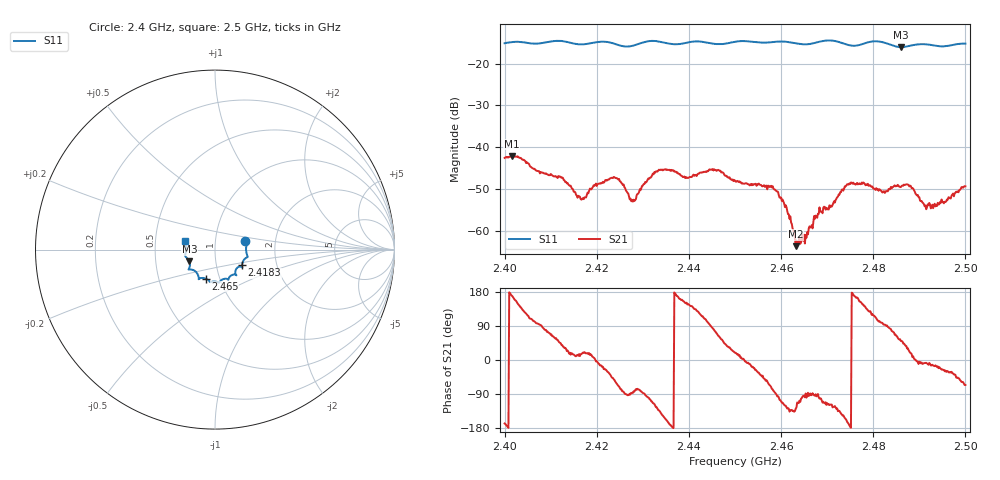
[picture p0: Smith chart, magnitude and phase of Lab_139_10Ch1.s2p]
# Hz S RI R 50
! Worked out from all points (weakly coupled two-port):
!   601 points, 2.4 GHz to 2.5 GHz, reference 50 ohm
!   highest |S21| = -42.08 dB at 2.4015 GHz (marker M1); lowest = -63.6 dB at 2.4632 GHz (marker M2)
!   lowest |S11| = -16.1 dB at 2.486 GHz (marker M3), VSWR 1.37, Z = 37.2 - j4.98 ohm
!   |S11| at or under -10 dB: start of sweep to end of sweep
!   S12 and S22 are empty: the file has one direction only
!   S11 on the Smith chart (normalised r, x): 2.4 GHz: 1.40, +0.13; 2.4183 GHz: 1.33, -0.24; 2.465 GHz: 0.86, -0.28; 2.5 GHz: 0.71, +0.07
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2.4e9  0.1686 0.0468  -0.0073 -0.00161  0 0  0 0
2.4015e9  0.1761 0.0392  -0.00776 0.00134  0 0  0 0
2.412167e9  0.1816 -0.0412  0.00316 0.0031  0 0  0 0
2.416667e9  0.1548 -0.0684  0.00229 0.000651  0 0  0 0
2.418333e9  0.1501 -0.0872  0.00285 0.000934  0 0  0 0
2.424e9  0.1425 -0.0948  0.00237 -0.00361  0 0  0 0
2.428e9  0.1139 -0.1183  0.000295 -0.00235  0 0  0 0
2.433333e9  0.1177 -0.1413  -0.00352 -0.00391  0 0  0 0
2.439667e9  0.0765 -0.1608  -0.00362 0.0024  0 0  0 0
2.446e9  0.0536 -0.1623  0.00173 0.00494  0 0  0 0
2.45e9  0.0262 -0.1803  0.00378 0.00131  0 0  0 0
2.458667e9  -0.0216 -0.1804  0.000208 -0.00312  0 0  0 0
2.4615e9  -0.0302 -0.1781  -0.00096 -0.00128  0 0  0 0
2.463167e9  -0.0365 -0.1708  -0.000414 -0.000514  0 0  0 0
2.465e9  -0.0523 -0.1614  -8.33e-05 -0.0009  0 0  0 0
2.466667e9  -0.0712 -0.1577  -4.45e-05 -0.00118  0 0  0 0
2.474833e9  -0.0998 -0.132  -0.00368 -0.000457  0 0  0 0
2.483333e9  -0.1412 -0.0965  0.000223 0.00317  0 0  0 0
2.486e9  -0.1429 -0.0652  0.00215 0.00258  0 0  0 0
2.487667e9  -0.1539 -0.049  0.00319 0.00158  0 0  0 0
2.493e9  -0.1639 -0.0203  0.00181 -0.000476  0 0  0 0
2.5e9  -0.1666 0.0468  0.0014 -0.00312  0 0  0 0
